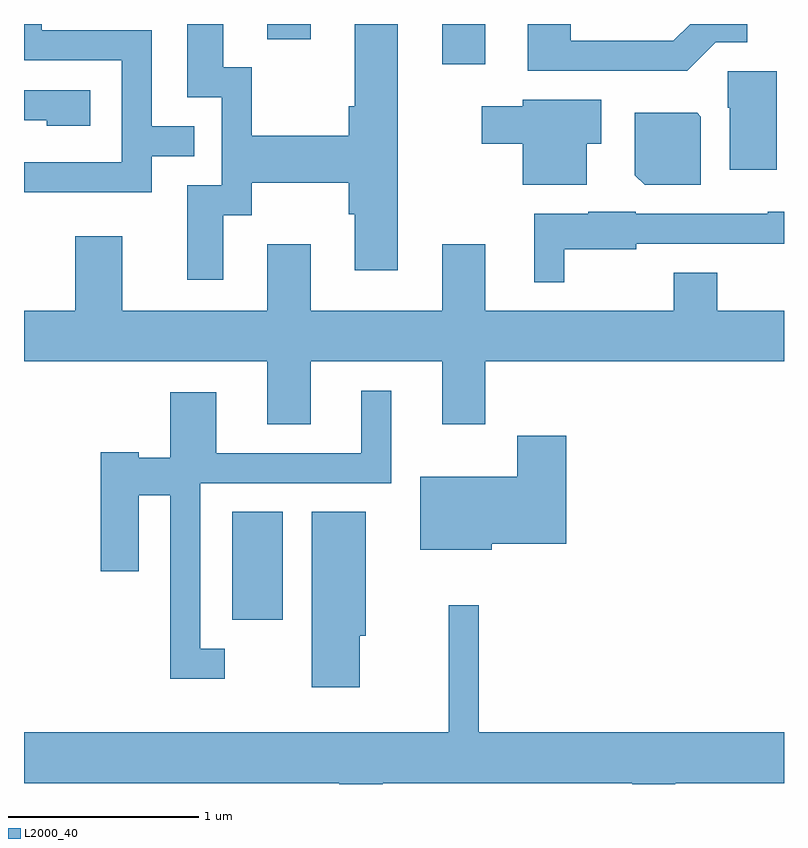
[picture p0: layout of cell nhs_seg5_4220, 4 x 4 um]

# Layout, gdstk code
import gdstk
lib = gdstk.Library(unit=1e-6, precision=1e-09)
def R(c, l, rs):  # rectangles x0, y0, x1, y1
    for r in rs: c.add(gdstk.rectangle(r[:2], r[2:], *l))
def P(c, l, *ps):  # polygons
    for p in ps: c.add(gdstk.Polygon(p, *l))
L2000_40 = (2000, 40)

nhs_seg5_4220 = lib.new_cell('nhs_seg5_4220')
R(nhs_seg5_4220, L2000_40, [(310.706,1510.936,310.974,1511.504), (311.811,1513.861,312.039,1514.072), (310.891,1513.991,311.119,1514.072)])
P(nhs_seg5_4220, L2000_40, [(313.252,1513.976),(313.418,1513.976),(313.418,1514.072),(313.117,1514.072),(313.029,1513.984),(312.489,1513.984),(312.489,1514.072),(312.261,1514.072),(312.261,1513.826),(313.102,1513.826)],
  [(310.284,1513.376),(310.508,1513.376),(310.508,1513.534),(310.284,1513.534),(310.284,1514.039),(309.704,1514.039),(309.704,1514.072),(309.611,1514.072),(309.611,1513.881),(310.126,1513.881),(310.126,1513.344),(309.611,1513.344),(309.611,1513.186),(310.284,1513.186)],
  [(310.659,1513.066),(310.809,1513.066),(310.809,1513.236),(311.321,1513.236),(311.321,1513.071),(311.351,1513.071),(311.351,1512.776),(311.579,1512.776),(311.579,1514.072),(311.351,1514.072),(311.351,1513.639),(311.321,1513.639),(311.321,1513.484),(310.809,1513.484),(310.809,1513.844),(310.659,1513.844),(310.659,1514.072),(310.471,1514.072),(310.471,1513.686),(310.651,1513.686),(310.651,1513.224),(310.471,1513.224),(310.471,1512.726),(310.659,1512.726)],
  [(313.574,1513.824),(313.316,1513.824),(313.316,1513.63),(313.326,1513.63),(313.326,1513.306),(313.574,1513.306)],
  [(309.959,1513.724),(309.611,1513.724),(309.611,1513.566),(309.731,1513.566),(309.731,1513.536),(309.959,1513.536)],
  [(312.574,1513.441),(312.649,1513.441),(312.649,1513.674),(312.236,1513.674),(312.236,1513.639),(312.021,1513.639),(312.021,1513.441),(312.236,1513.441),(312.236,1513.226),(312.574,1513.226)],
  [(313.174,1513.584),(313.154,1513.604),(312.826,1513.604),(312.826,1513.277),(312.877,1513.226),(313.174,1513.226)],
  [(312.454,1512.886),(312.834,1512.886),(312.834,1512.916),(313.611,1512.916),(313.611,1513.084),(313.525,1513.084),(313.525,1513.074),(312.83,1513.074),(312.83,1513.084),(312.58,1513.084),(312.58,1513.074),(312.296,1513.074),(312.296,1512.713),(312.454,1512.713)],
  [(311.119,1512.296),(311.811,1512.296),(311.811,1511.966),(312.039,1511.966),(312.039,1512.296),(313.611,1512.296),(313.611,1512.564),(313.259,1512.564),(313.259,1512.764),(313.031,1512.764),(313.031,1512.564),(312.039,1512.564),(312.039,1512.914),(311.811,1512.914),(311.811,1512.564),(311.119,1512.564),(311.119,1512.914),(310.891,1512.914),(310.891,1512.564),(310.129,1512.564),(310.129,1512.954),(309.881,1512.954),(309.881,1512.564),(309.611,1512.564),(309.611,1512.296),(310.891,1512.296),(310.891,1511.966),(311.119,1511.966)],
  [(310.668,1510.784),(310.539,1510.784),(310.539,1511.656),(311.544,1511.656),(311.544,1512.143),(311.386,1512.143),(311.386,1511.814),(310.624,1511.814),(310.624,1512.134),(310.381,1512.134),(310.381,1511.789),(310.214,1511.789),(310.214,1511.819),(310.016,1511.819),(310.016,1511.191),(310.214,1511.191),(310.214,1511.591),(310.381,1511.591),(310.381,1510.626),(310.668,1510.626)],
  [(312.074,1511.336),(312.464,1511.336),(312.464,1511.904),(312.206,1511.904),(312.206,1511.689),(311.696,1511.689),(311.696,1511.306),(312.074,1511.306)],
  [(311.379,1510.851),(311.409,1510.851),(311.409,1511.504),(311.126,1511.504),(311.126,1510.581),(311.379,1510.581)],
  [(311.499,1510.076),(312.811,1510.076),(312.811,1510.072),(313.039,1510.072),(313.039,1510.076),(313.611,1510.076),(313.611,1510.344),(312.004,1510.344),(312.004,1511.013),(311.846,1511.013),(311.846,1510.344),(309.611,1510.344),(309.611,1510.076),(311.271,1510.076),(311.271,1510.072),(311.499,1510.072)])

lib.write_gds('nhs_seg5_4220.gds')
